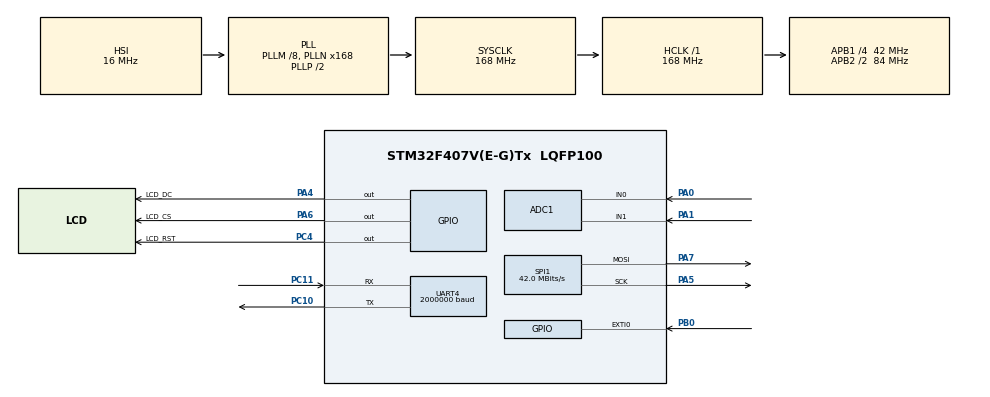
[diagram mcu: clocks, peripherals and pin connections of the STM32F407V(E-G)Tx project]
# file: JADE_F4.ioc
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ADC1.Channel-0\#ChannelRegularConversion=ADC_CHANNEL_0
ADC1.Channel-1\#ChannelRegularConversion=ADC_CHANNEL_1
ADC1.ClockPrescaler=ADC_CLOCK_SYNC_PCLK_DIV8
ADC1.ContinuousConvMode=ENABLE
ADC1.DMAContinuousRequests=ENABLE
ADC1.DiscontinuousConvMode=DISABLE
ADC1.EOCSelection=ADC_EOC_SEQ_CONV
ADC1.NbrOfConversion=2
ADC1.NbrOfConversionFlag=1
ADC1.Rank-0\#ChannelRegularConversion=1
ADC1.Rank-1\#ChannelRegularConversion=2
ADC1.SamplingTime-0\#ChannelRegularConversion=ADC_SAMPLETIME_3CYCLES
ADC1.SamplingTime-1\#ChannelRegularConversion=ADC_SAMPLETIME_3CYCLES
ADC1.ScanConvMode=ENABLE
ADC1.master=1
Dma.ADC1.0.Direction=DMA_PERIPH_TO_MEMORY
Dma.ADC1.0.FIFOMode=DMA_FIFOMODE_DISABLE
Dma.ADC1.0.Instance=DMA2_Stream4
Dma.ADC1.0.MemDataAlignment=DMA_MDATAALIGN_HALFWORD
Dma.ADC1.0.MemInc=DMA_MINC_ENABLE
Dma.ADC1.0.Mode=DMA_CIRCULAR
Dma.ADC1.0.PeriphDataAlignment=DMA_PDATAALIGN_HALFWORD
Dma.ADC1.0.PeriphInc=DMA_PINC_DISABLE
Dma.ADC1.0.Priority=DMA_PRIORITY_LOW
Dma.Request0=ADC1
Dma.Request1=SPI1_TX
Dma.Request2=UART4_RX
Dma.SPI1_TX.1.Direction=DMA_MEMORY_TO_PERIPH
Dma.SPI1_TX.1.FIFOMode=DMA_FIFOMODE_DISABLE
Dma.SPI1_TX.1.Instance=DMA2_Stream5
Dma.SPI1_TX.1.MemDataAlignment=DMA_MDATAALIGN_HALFWORD
Dma.SPI1_TX.1.MemInc=DMA_MINC_ENABLE
Dma.SPI1_TX.1.Mode=DMA_NORMAL
Dma.SPI1_TX.1.PeriphDataAlignment=DMA_PDATAALIGN_HALFWORD
Dma.SPI1_TX.1.PeriphInc=DMA_PINC_DISABLE
Dma.SPI1_TX.1.Priority=DMA_PRIORITY_VERY_HIGH
Dma.UART4_RX.2.Direction=DMA_PERIPH_TO_MEMORY
Dma.UART4_RX.2.FIFOMode=DMA_FIFOMODE_DISABLE
Dma.UART4_RX.2.Instance=DMA1_Stream2
Dma.UART4_RX.2.MemDataAlignment=DMA_MDATAALIGN_BYTE
Dma.UART4_RX.2.MemInc=DMA_MINC_ENABLE
Dma.UART4_RX.2.Mode=DMA_CIRCULAR
Dma.UART4_RX.2.PeriphDataAlignment=DMA_PDATAALIGN_BYTE
Dma.UART4_RX.2.PeriphInc=DMA_PINC_DISABLE
Dma.UART4_RX.2.Priority=DMA_PRIORITY_LOW
Mcu.Family=STM32F4
Mcu.Name=STM32F407V(E-G)Tx
Mcu.Package=LQFP100
NVIC.DMA1_Stream2_IRQn=true\:0\:0\:false\:false\:true\:false\:true\:true
NVIC.DMA2_Stream4_IRQn=true\:0\:0\:false\:false\:true\:false\:true\:true
NVIC.DMA2_Stream5_IRQn=true\:0\:0\:false\:false\:true\:false\:true\:true
NVIC.EXTI0_IRQn=true\:0\:5\:false\:false\:true\:true\:true\:true
NVIC.PriorityGroup=NVIC_PRIORITYGROUP_0
NVIC.TIM2_IRQn=true\:0\:5\:false\:false\:true\:true\:true\:true
NVIC.TIM3_IRQn=true\:0\:5\:false\:false\:true\:true\:true\:true
NVIC.UART4_IRQn=true\:0\:0\:false\:false\:true\:true\:true\:true
PA0-WKUP.Signal=ADCx_IN0
PA1.Signal=ADCx_IN1
PA4.GPIO_Label=LCD_DC
PA4.Signal=GPIO_Output
PA5.Mode=TX_Only_Simplex_Unidirect_Master
PA5.Signal=SPI1_SCK
PA6.GPIO_Label=LCD_CS
PA6.Signal=GPIO_Output
PA7.Mode=TX_Only_Simplex_Unidirect_Master
PA7.Signal=SPI1_MOSI
PB0.GPIO_ModeDefaultEXTI=GPIO_MODE_IT_RISING
PB0.GPIO_PuPd=GPIO_PULLUP
PB0.Signal=GPXTI0
PC10.Mode=Asynchronous
PC10.Signal=UART4_TX
PC11.Mode=Asynchronous
PC11.Signal=UART4_RX
PC4.GPIO_Label=LCD_RST
PC4.Signal=GPIO_Output
ProjectManager.HeapSize=0x200
ProjectManager.StackSize=0x400
ProjectManager.TargetToolchain=STM32CubeIDE
RCC.48MHZClocksFreq_Value=48000000
RCC.AHBFreq_Value=168000000
RCC.APB1CLKDivider=RCC_HCLK_DIV4
RCC.APB1Freq_Value=42000000
RCC.APB1TimFreq_Value=84000000
RCC.APB2CLKDivider=RCC_HCLK_DIV2
RCC.APB2Freq_Value=84000000
RCC.APB2TimFreq_Value=168000000
RCC.CortexFreq_Value=168000000
RCC.HCLKFreq_Value=168000000
RCC.HSE_VALUE=8000000
RCC.HSI_VALUE=16000000
RCC.LSE_VALUE=32768
RCC.PLLM=8
RCC.PLLN=168
RCC.PLLQ=7
RCC.SYSCLKFreq_VALUE=168000000
RCC.SYSCLKSource=RCC_SYSCLKSOURCE_PLLCLK
RCC.VCOOutputFreq_Value=336000000
SH.ADCx_IN0.0=ADC1_IN0,IN0
SH.ADCx_IN1.0=ADC1_IN1,IN1
SPI1.CalculateBaudRate=42.0 MBits/s
SPI1.DataSize=SPI_DATASIZE_16BIT
SPI1.Direction=SPI_DIRECTION_2LINES
SPI1.FirstBit=SPI_FIRSTBIT_MSB
SPI1.Mode=SPI_MODE_MASTER
SPI1.VirtualType=VM_MASTER
TIM2.Period=4999
TIM2.Prescaler=8399
TIM3.Period=499
TIM3.Prescaler=8399
UART4.BaudRate=2000000
UART4.Parity=PARITY_EVEN
UART4.VirtualMode=Asynchronous
UART4.WordLength=WORDLENGTH_9B
VP_TIM2_VS_ClockSourceINT.Mode=Internal
VP_TIM3_VS_ClockSourceINT.Mode=Internal
board=STM32F407G-DISC1

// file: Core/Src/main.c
/* USER CODE BEGIN Header */
/**
  ******************************************************************************
  * @file           : main.c
  * @brief          : Main program body
  ******************************************************************************
  * @attention
  *
  * Copyright (c) 2026 STMicroelectronics.
  * All rights reserved.
  *
  * This software is licensed under terms that can be found in the LICENSE file
  * in the root directory of this software component.
  * If no LICENSE file comes with this software, it is provided AS-IS.
  *
  ******************************************************************************
  */
/* USER CODE END Header */
#include "main.h"

/* USER CODE BEGIN Includes */
#include <stdio.h>
#include "tjpgd.h"
#include <math.h>
#include "ILI9486.h"
/* USER CODE END Includes */

ADC_HandleTypeDef hadc1;
DMA_HandleTypeDef hdma_adc1;

SPI_HandleTypeDef hspi1;
DMA_HandleTypeDef hdma_spi1_tx;

TIM_HandleTypeDef htim2;
TIM_HandleTypeDef htim3;

UART_HandleTypeDef huart4;
DMA_HandleTypeDef hdma_uart4_rx;

void SystemClock_Config(void);
static void MX_GPIO_Init(void);
static void MX_DMA_Init(void);
static void MX_ADC1_Init(void);
static void MX_UART4_Init(void);
static void MX_SPI1_Init(void);
static void MX_TIM3_Init(void);
static void MX_TIM2_Init(void);

/* USER CODE BEGIN 0 */

/* --- Configuration Defines --- */
#define POOL_SIZE           4096
#define DMA_BLOCK_SIZE      1024
#define WAVE_MESSAGE        "wave\n"
#define GOOD_OL_TIMES       "train\n"
#define NUM_BUFFERS         4
#define BUF_FREE            0
#define BUF_DMA             1
#define BUF_READY           2
#define MAX_JPEG_SIZE       20000 /* Max 20 KB per frame stimati */

/* --- Lookup Tables --- */
static uint8_t lut_r[32];
static uint8_t lut_g[64];

// Inizializzazione Lookup Tables per la correzione gamma RGB
void init_lut(void)
{
  for(int i = 0; i < 32; i++)
  {
    lut_r[i] = (uint8_t)(powf((float)i / 31.0f, 0.6f) * 31.0f);
  }
  for(int i = 0; i < 64; i++)
  {
    lut_g[i] = (uint8_t)(powf((float)i / 63.0f, 0.7f) * 63.0f);
  }
}

/* --- JPEG & DMA Buffer Management --- */
uint8_t jpeg_buf[NUM_BUFFERS][MAX_JPEG_SIZE];

/* Inizializzazione stati: il primo buffer è assegnato al DMA, i restanti sono liberi */
volatile uint8_t buffer_state[NUM_BUFFERS]   = {BUF_DMA, BUF_FREE, BUF_FREE, BUF_FREE};
volatile uint32_t frame_lengths[NUM_BUFFERS] = {0};

volatile uint8_t dma_write_idx  = 0;  /* Indice di scrittura corrente per il DMA */
uint8_t locked_cpu_idx          = 0;  /* Indice del buffer protetto e in uso dalla CPU */
uint32_t locked_frame_len       = 0;  /* Lunghezza del frame attualmente in uso dalla CPU */
uint32_t jpeg_read_offset       = 0;  /* Offset utilizzato dalla funzione in_func per la lettura */

/* Buffer per la trasmissione SPI tramite DMA */
uint16_t dma_buf[2][DMA_BLOCK_SIZE];
volatile uint8_t buf_idx = 0;

/* Context del decoder TJpgDec */
__attribute__((aligned(4))) uint8_t jdec_pool[POOL_SIZE]; /* Memoria allineata a 32-bit */
JDEC jdec;
volatile uint8_t spi_dma_ready = 1;

/* --- Peripheral Data --- */
uint16_t joystickdata[2];
char timer_uart_msg[25];
volatile uint8_t joystick_tx_busy = 0;

/* Dati riservati all'elaborazione CPU */
uint8_t cpu_jpeg_buf[MAX_JPEG_SIZE];
uint32_t cpu_frame_len;

/* --- Button State Variables --- */
volatile uint32_t btn_last_press_tick = 0;
volatile uint8_t  btn_press_count     = 0;

void HAL_TIM_PeriodElapsedCallback(TIM_HandleTypeDef *htim)
{
  if (htim->Instance == TIM3)
  {
    if (joystick_tx_busy == 0)
    {
      joystick_tx_busy = 1;
      int len = sprintf(timer_uart_msg, "%u,%u\n", joystickdata[0], joystickdata[1]);
      HAL_UART_Transmit_IT(&huart4, (uint8_t*)timer_uart_msg, len);
    }
  }

  /* Logica TIM2 per la gestione della finestra temporale dei click */
  if (htim->Instance == TIM2)
  {
    HAL_TIM_Base_Stop_IT(&htim2);

    if (btn_press_count > 1)
    {
      HAL_UART_Transmit_IT(&huart4, (uint8_t*)WAVE_MESSAGE, sizeof(WAVE_MESSAGE));
    }

    btn_press_count = 0;
  }
}

void HAL_UART_TxCpltCallback(UART_HandleTypeDef *huart)
{
  if (huart->Instance == UART4)
  {
    joystick_tx_busy = 0;
  }
}

void HAL_UARTEx_RxEventCallback(UART_HandleTypeDef *huart, uint16_t Size)
{
  if (huart->Instance == UART4)
  {
    uint8_t next_idx = (dma_write_idx + 1) % NUM_BUFFERS;

    if (buffer_state[next_idx] == BUF_FREE)
    {
      /* Commit del frame corrente, avanzamento allo slot successivo */
      frame_lengths[dma_write_idx] = Size;
      buffer_state[dma_write_idx]  = BUF_READY;

      dma_write_idx = next_idx;
      buffer_state[dma_write_idx] = BUF_DMA;
    }
    /* Altrimenti: condizione di overflow. Il DMA ricomincia sullo stesso buffer, scartando il frame parziale. */

    HAL_UARTEx_ReceiveToIdle_DMA(&huart4, jpeg_buf[dma_write_idx], MAX_JPEG_SIZE);
    __HAL_DMA_DISABLE_IT(&hdma_uart4_rx, DMA_IT_HT);
  }
}

void HAL_UART_ErrorCallback(UART_HandleTypeDef *huart)
{
  if (huart->Instance == UART4)
  {
    /* Pulizia dei flag di errore hardware */
    __HAL_UART_CLEAR_OREFLAG(huart);
    __HAL_UART_CLEAR_NEFLAG(huart);
    __HAL_UART_CLEAR_FEFLAG(huart);

    /* Riavvio del trasferimento DMA */
    HAL_UARTEx_ReceiveToIdle_DMA(&huart4, jpeg_buf[dma_write_idx], MAX_JPEG_SIZE);
    __HAL_DMA_DISABLE_IT(&hdma_uart4_rx, DMA_IT_HT); /* Disabilitazione Half-Transfer interrupt */
  }
}

void HAL_GPIO_EXTI_Callback(uint16_t GPIO_Pin)
{
  if (GPIO_Pin == GPIO_PIN_0)
  {
    uint32_t now = HAL_GetTick();

    /* Software Button Debouncer */
    if (now - btn_last_press_tick < 150)
    {
      return;
    }
    btn_last_press_tick = now;

    btn_press_count++;

    if (btn_press_count >= 4)
    {
      HAL_TIM_Base_Stop_IT(&htim2);
      __HAL_TIM_SET_COUNTER(&htim2, 0);

      HAL_UART_Transmit_IT(&huart4, (uint8_t*)GOOD_OL_TIMES, sizeof(GOOD_OL_TIMES));
      btn_press_count = 0;
    }
    else
    {
      __HAL_TIM_SET_COUNTER(&htim2, 0);
      HAL_TIM_Base_Start_IT(&htim2);
    }
  }
}

void HAL_SPI_TxCpltCallback(SPI_HandleTypeDef *hspi)
{
  while (__HAL_SPI_GET_FLAG(hspi, SPI_FLAG_BSY) != RESET)
  {
    __NOP();
  }
  LCD_CS_1; /* Trasmissione conclusa, disattivazione del Chip Select */
  spi_dma_ready = 1;
}

size_t in_func(JDEC* jd, uint8_t* buff, size_t nbyte)
{
  if (jpeg_read_offset >= cpu_frame_len) return 0;

  size_t to_read = nbyte;
  if (jpeg_read_offset + to_read > cpu_frame_len)
  {
    to_read = cpu_frame_len - jpeg_read_offset;
  }

  if (buff)
  {
    memcpy(buff, &cpu_jpeg_buf[jpeg_read_offset], to_read);
  }

  jpeg_read_offset += to_read;
  return to_read;
}

int out_func(JDEC* jd, void* bitmap, JRECT* rect)
{
  while (spi_dma_ready == 0)
  {
    __NOP();
  }

  /* Impostazione della finestra di refresh sul display */
  LCD_SetWindow(rect->left, rect->top, rect->right, rect->bottom);

  uint32_t num_pixels = (rect->right - rect->left + 1) * (rect->bottom - rect->top + 1);

  /* Correzione Gamma RGB */
  uint16_t *pixels = (uint16_t*)bitmap;
  for(uint32_t i = 0; i < num_pixels; i++)
  {
    uint16_t p = pixels[i];
    uint8_t r = (p >> 11) & 0x1F;
    uint8_t g = (p >> 5)  & 0x3F;
    uint8_t b = p & 0x1F;

    pixels[i] = (lut_r[r] << 11) | (lut_g[g] << 5) | b;
  }

  uint8_t current_buf = buf_idx;
  memcpy(dma_buf[current_buf], bitmap, num_pixels * 2);
  buf_idx = 1 - buf_idx;

  spi_dma_ready = 0;
  LCD_DC_1;
  LCD_CS_0;
  HAL_SPI_Transmit_DMA(&hspi1, (uint8_t*)dma_buf[current_buf], num_pixels);

  return 1;
}

/* USER CODE END 0 */

int main(void)
{

  /* MCU Configuration--------------------------------------------------------*/

  /* Reset of all peripherals, Initializes the Flash interface and the Systick. */
  HAL_Init();

  /* Configure the system clock */
  SystemClock_Config();

  /* Initialize all configured peripherals */
  MX_GPIO_Init();
  MX_DMA_Init();
  MX_ADC1_Init();
  MX_UART4_Init();
  MX_SPI1_Init();
  MX_TIM3_Init();
  MX_TIM2_Init();
  /* USER CODE BEGIN 2 */

  HAL_ADC_Start_DMA(&hadc1, (uint32_t*)joystickdata, 2);

  HAL_TIM_Base_Start_IT(&htim3);

  /* Routine di reset per il Display LCD */
  HAL_GPIO_WritePin(LCD_RST_GPIO_Port, LCD_RST_Pin, GPIO_PIN_RESET);
  HAL_Delay(100);
  HAL_GPIO_WritePin(LCD_RST_GPIO_Port, LCD_RST_Pin, GPIO_PIN_SET);
  HAL_Delay(200);

  LCD_Init(U2D_L2R, 255);
  init_lut();

  /* Avvio della ricezione DMA */
  HAL_UARTEx_ReceiveToIdle_DMA(&huart4, jpeg_buf[dma_write_idx], MAX_JPEG_SIZE);
    __HAL_DMA_DISABLE_IT(&hdma_uart4_rx, DMA_IT_HT);

  /* USER CODE END 2 */

  /* Infinite loop */
  /* USER CODE BEGIN WHILE */

  uint8_t main_read_idx = 0; /* Indice iniziale per il thread principale */

  while (1)
  {
    /* USER CODE END WHILE */

    /* USER CODE BEGIN 3 */
    if (buffer_state[main_read_idx] == BUF_READY)
    {
	  /* Acquisizione sicura del buffer da parte della CPU */
	  cpu_frame_len = frame_lengths[main_read_idx];

	  memcpy(cpu_jpeg_buf,
		   jpeg_buf[main_read_idx],
		   cpu_frame_len);

	  /* Rilascio immediato del buffer originale */
	  buffer_state[main_read_idx] = BUF_FREE;

	  /* Avanzamento circolare per il frame successivo */
	  main_read_idx = (main_read_idx + 1) % NUM_BUFFERS;

	  jpeg_read_offset = 0;

	  /* Ricerca dell'header JPEG (Marker SOI: 0xFF, 0xD8) */
	  while (jpeg_read_offset < cpu_frame_len - 1)
	  {
		  if (cpu_jpeg_buf[jpeg_read_offset] == 0xFF &&
				  cpu_jpeg_buf[jpeg_read_offset + 1] == 0xD8)
		  {
			  break;
		  }
		  jpeg_read_offset++;
	  }

	  /* Avvio decodifica */
	  if (jpeg_read_offset < cpu_frame_len - 1)
	  {
		  JRESULT res = jd_prepare(&jdec, in_func, jdec_pool, POOL_SIZE, NULL);
		  if (res == JDR_OK)
		  {
			  jd_decomp(&jdec, out_func, 0);
		  }
	  }
    }
  }
  /* USER CODE END 3 */
}

void SystemClock_Config(void)
{
  RCC_OscInitTypeDef RCC_OscInitStruct = {0};
  RCC_ClkInitTypeDef RCC_ClkInitStruct = {0};

  /** Configure the main internal regulator output voltage
  */
  __HAL_RCC_PWR_CLK_ENABLE();
  __HAL_PWR_VOLTAGESCALING_CONFIG(PWR_REGULATOR_VOLTAGE_SCALE1);

  /** Initializes the RCC Oscillators according to the specified parameters
  * in the RCC_OscInitTypeDef structure.
  */
  RCC_OscInitStruct.OscillatorType = RCC_OSCILLATORTYPE_HSI;
  RCC_OscInitStruct.HSIState = RCC_HSI_ON;
  RCC_OscInitStruct.HSICalibrationValue = RCC_HSICALIBRATION_DEFAULT;
  RCC_OscInitStruct.PLL.PLLState = RCC_PLL_ON;
  RCC_OscInitStruct.PLL.PLLSource = RCC_PLLSOURCE_HSI;
  RCC_OscInitStruct.PLL.PLLM = 8;
  RCC_OscInitStruct.PLL.PLLN = 168;
  RCC_OscInitStruct.PLL.PLLP = RCC_PLLP_DIV2;
  RCC_OscInitStruct.PLL.PLLQ = 7;
  if (HAL_RCC_OscConfig(&RCC_OscInitStruct) != HAL_OK)
  {
    Error_Handler();
  }

  /** Initializes the CPU, AHB and APB buses clocks
  */
  RCC_ClkInitStruct.ClockType = RCC_CLOCKTYPE_HCLK|RCC_CLOCKTYPE_SYSCLK
                              |RCC_CLOCKTYPE_PCLK1|RCC_CLOCKTYPE_PCLK2;
  RCC_ClkInitStruct.SYSCLKSource = RCC_SYSCLKSOURCE_PLLCLK;
  RCC_ClkInitStruct.AHBCLKDivider = RCC_SYSCLK_DIV1;
  RCC_ClkInitStruct.APB1CLKDivider = RCC_HCLK_DIV4;
  RCC_ClkInitStruct.APB2CLKDivider = RCC_HCLK_DIV2;

  if (HAL_RCC_ClockConfig(&RCC_ClkInitStruct, FLASH_LATENCY_5) != HAL_OK)
  {
    Error_Handler();
  }
}

static void MX_ADC1_Init(void)
{

  ADC_ChannelConfTypeDef sConfig = {0};

  /** Configure the global features of the ADC (Clock, Resolution, Data Alignment and number of conversion)
  */
  hadc1.Instance = ADC1;
  hadc1.Init.ClockPrescaler = ADC_CLOCK_SYNC_PCLK_DIV8;
  hadc1.Init.Resolution = ADC_RESOLUTION_12B;
  hadc1.Init.ScanConvMode = ENABLE;
  hadc1.Init.ContinuousConvMode = ENABLE;
  hadc1.Init.DiscontinuousConvMode = DISABLE;
  hadc1.Init.ExternalTrigConvEdge = ADC_EXTERNALTRIGCONVEDGE_NONE;
  hadc1.Init.ExternalTrigConv = ADC_SOFTWARE_START;
  hadc1.Init.DataAlign = ADC_DATAALIGN_RIGHT;
  hadc1.Init.NbrOfConversion = 2;
  hadc1.Init.DMAContinuousRequests = ENABLE;
  hadc1.Init.EOCSelection = ADC_EOC_SEQ_CONV;
  if (HAL_ADC_Init(&hadc1) != HAL_OK)
  {
    Error_Handler();
  }

  /** Configure for the selected ADC regular channel its corresponding rank in the sequencer and its sample time.
  */
  sConfig.Channel = ADC_CHANNEL_0;
  sConfig.Rank = 1;
  sConfig.SamplingTime = ADC_SAMPLETIME_3CYCLES;
  if (HAL_ADC_ConfigChannel(&hadc1, &sConfig) != HAL_OK)
  {
    Error_Handler();
  }

  /** Configure for the selected ADC regular channel its corresponding rank in the sequencer and its sample time.
  */
  sConfig.Channel = ADC_CHANNEL_1;
  sConfig.Rank = 2;
  if (HAL_ADC_ConfigChannel(&hadc1, &sConfig) != HAL_OK)
  {
    Error_Handler();
  }

}

static void MX_SPI1_Init(void)
{

  /* SPI1 parameter configuration*/
  hspi1.Instance = SPI1;
  hspi1.Init.Mode = SPI_MODE_MASTER;
  hspi1.Init.Direction = SPI_DIRECTION_2LINES;
  hspi1.Init.DataSize = SPI_DATASIZE_16BIT;
  hspi1.Init.CLKPolarity = SPI_POLARITY_LOW;
  hspi1.Init.CLKPhase = SPI_PHASE_1EDGE;
  hspi1.Init.NSS = SPI_NSS_SOFT;
  hspi1.Init.BaudRatePrescaler = SPI_BAUDRATEPRESCALER_2;
  hspi1.Init.FirstBit = SPI_FIRSTBIT_MSB;
  hspi1.Init.TIMode = SPI_TIMODE_DISABLE;
  hspi1.Init.CRCCalculation = SPI_CRCCALCULATION_DISABLE;
  hspi1.Init.CRCPolynomial = 10;
  if (HAL_SPI_Init(&hspi1) != HAL_OK)
  {
    Error_Handler();
  }

}

static void MX_TIM2_Init(void)
{

  TIM_ClockConfigTypeDef sClockSourceConfig = {0};
  TIM_MasterConfigTypeDef sMasterConfig = {0};

  htim2.Instance = TIM2;
  htim2.Init.Prescaler = 8399;
  htim2.Init.CounterMode = TIM_COUNTERMODE_UP;
  htim2.Init.Period = 4999;
  htim2.Init.ClockDivision = TIM_CLOCKDIVISION_DIV1;
  htim2.Init.AutoReloadPreload = TIM_AUTORELOAD_PRELOAD_DISABLE;
  if (HAL_TIM_Base_Init(&htim2) != HAL_OK)
  {
    Error_Handler();
  }
  sClockSourceConfig.ClockSource = TIM_CLOCKSOURCE_INTERNAL;
  if (HAL_TIM_ConfigClockSource(&htim2, &sClockSourceConfig) != HAL_OK)
  {
    Error_Handler();
  }
  sMasterConfig.MasterOutputTrigger = TIM_TRGO_RESET;
  sMasterConfig.MasterSlaveMode = TIM_MASTERSLAVEMODE_DISABLE;
  if (HAL_TIMEx_MasterConfigSynchronization(&htim2, &sMasterConfig) != HAL_OK)
  {
    Error_Handler();
  }

}

static void MX_TIM3_Init(void)
{

  TIM_ClockConfigTypeDef sClockSourceConfig = {0};
  TIM_MasterConfigTypeDef sMasterConfig = {0};

  htim3.Instance = TIM3;
  htim3.Init.Prescaler = 8399;
  htim3.Init.CounterMode = TIM_COUNTERMODE_UP;
  htim3.Init.Period = 499;
  htim3.Init.ClockDivision = TIM_CLOCKDIVISION_DIV1;
  htim3.Init.AutoReloadPreload = TIM_AUTORELOAD_PRELOAD_DISABLE;
  if (HAL_TIM_Base_Init(&htim3) != HAL_OK)
  {
    Error_Handler();
  }
  sClockSourceConfig.ClockSource = TIM_CLOCKSOURCE_INTERNAL;
  if (HAL_TIM_ConfigClockSource(&htim3, &sClockSourceConfig) != HAL_OK)
  {
    Error_Handler();
  }
  sMasterConfig.MasterOutputTrigger = TIM_TRGO_RESET;
  sMasterConfig.MasterSlaveMode = TIM_MASTERSLAVEMODE_DISABLE;
  if (HAL_TIMEx_MasterConfigSynchronization(&htim3, &sMasterConfig) != HAL_OK)
  {
    Error_Handler();
  }

}

static void MX_UART4_Init(void)
{

  huart4.Instance = UART4;
  huart4.Init.BaudRate = 2000000;
  huart4.Init.WordLength = UART_WORDLENGTH_9B;
  huart4.Init.StopBits = UART_STOPBITS_1;
  huart4.Init.Parity = UART_PARITY_EVEN;
  huart4.Init.Mode = UART_MODE_TX_RX;
  huart4.Init.HwFlowCtl = UART_HWCONTROL_NONE;
  huart4.Init.OverSampling = UART_OVERSAMPLING_16;
  if (HAL_UART_Init(&huart4) != HAL_OK)
  {
    Error_Handler();
  }

}

static void MX_DMA_Init(void)
{

  /* DMA controller clock enable */
  __HAL_RCC_DMA2_CLK_ENABLE();
  __HAL_RCC_DMA1_CLK_ENABLE();

  /* DMA interrupt init */
  /* DMA1_Stream2_IRQn interrupt configuration */
  HAL_NVIC_SetPriority(DMA1_Stream2_IRQn, 0, 0);
  HAL_NVIC_EnableIRQ(DMA1_Stream2_IRQn);
  /* DMA2_Stream4_IRQn interrupt configuration */
  HAL_NVIC_SetPriority(DMA2_Stream4_IRQn, 0, 0);
  HAL_NVIC_EnableIRQ(DMA2_Stream4_IRQn);
  /* DMA2_Stream5_IRQn interrupt configuration */
  HAL_NVIC_SetPriority(DMA2_Stream5_IRQn, 0, 0);
  HAL_NVIC_EnableIRQ(DMA2_Stream5_IRQn);

}

static void MX_GPIO_Init(void)
{
  GPIO_InitTypeDef GPIO_InitStruct = {0};

  /* GPIO Ports Clock Enable */
  __HAL_RCC_GPIOA_CLK_ENABLE();
  __HAL_RCC_GPIOC_CLK_ENABLE();
  __HAL_RCC_GPIOB_CLK_ENABLE();

  /*Configure GPIO pin Output Level */
  HAL_GPIO_WritePin(GPIOA, LCD_DC_Pin|LCD_CS_Pin, GPIO_PIN_RESET);

  /*Configure GPIO pin Output Level */
  HAL_GPIO_WritePin(LCD_RST_GPIO_Port, LCD_RST_Pin, GPIO_PIN_RESET);

  /*Configure GPIO pins : LCD_DC_Pin LCD_CS_Pin */
  GPIO_InitStruct.Pin = LCD_DC_Pin|LCD_CS_Pin;
  GPIO_InitStruct.Mode = GPIO_MODE_OUTPUT_PP;
  GPIO_InitStruct.Pull = GPIO_NOPULL;
  GPIO_InitStruct.Speed = GPIO_SPEED_FREQ_LOW;
  HAL_GPIO_Init(GPIOA, &GPIO_InitStruct);

  /*Configure GPIO pin : LCD_RST_Pin */
  GPIO_InitStruct.Pin = LCD_RST_Pin;
  GPIO_InitStruct.Mode = GPIO_MODE_OUTPUT_PP;
  GPIO_InitStruct.Pull = GPIO_NOPULL;
  GPIO_InitStruct.Speed = GPIO_SPEED_FREQ_LOW;
  HAL_GPIO_Init(LCD_RST_GPIO_Port, &GPIO_InitStruct);

  /*Configure GPIO pin : PB0 */
  GPIO_InitStruct.Pin = GPIO_PIN_0;
  GPIO_InitStruct.Mode = GPIO_MODE_IT_RISING;
  GPIO_InitStruct.Pull = GPIO_PULLUP;
  HAL_GPIO_Init(GPIOB, &GPIO_InitStruct);

  /* EXTI interrupt init*/
  HAL_NVIC_SetPriority(EXTI0_IRQn, 0, 5);
  HAL_NVIC_EnableIRQ(EXTI0_IRQn);

}

void Error_Handler(void)
{
  __disable_irq();
  while (1)
  {
  }
}
